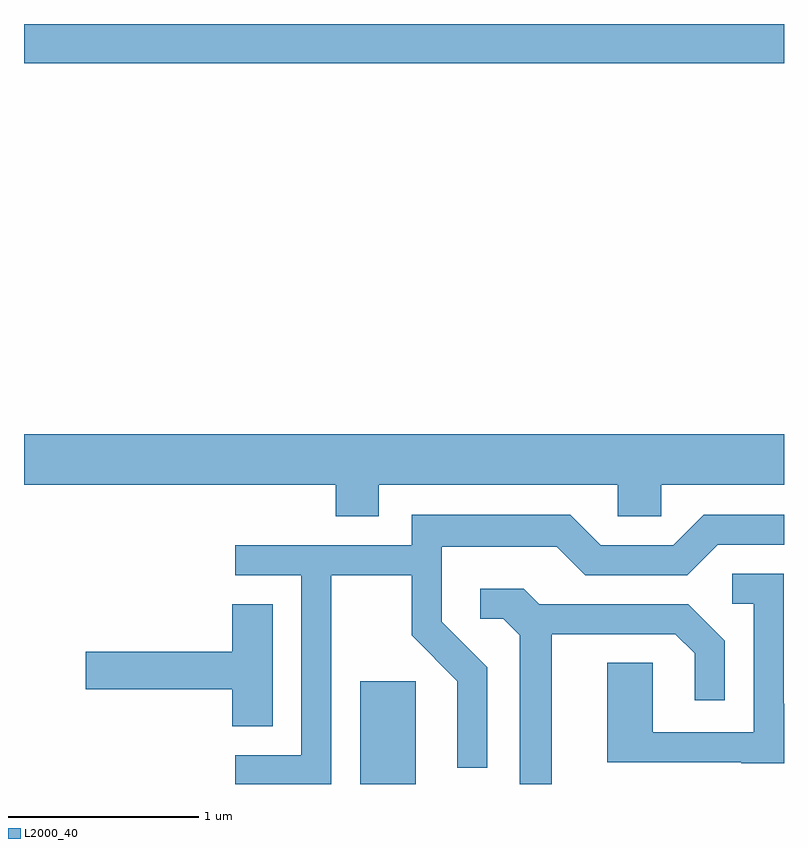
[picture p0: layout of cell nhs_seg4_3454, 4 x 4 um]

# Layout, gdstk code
import gdstk
lib = gdstk.Library(unit=1e-6, precision=1e-09)
def R(c, l, rs):  # rectangles x0, y0, x1, y1
    for r in rs: c.add(gdstk.rectangle(r[:2], r[2:], *l))
def P(c, l, *ps):  # polygons
    for p in ps: c.add(gdstk.Polygon(p, *l))
L2000_40 = (2000, 40)

nhs_seg4_3454 = lib.new_cell('nhs_seg4_3454')
R(nhs_seg4_3454, L2000_40, [(287.381,1361.982,287.674,1362.524), (285.611,1365.776,289.611,1365.982)])
P(nhs_seg4_3454, L2000_40, [(287.479,1363.556),(288.736,1363.556),(288.736,1363.391),(288.964,1363.391),(288.964,1363.556),(289.611,1363.556),(289.611,1363.824),(285.611,1363.824),(285.611,1363.556),(287.251,1363.556),(287.251,1363.391),(287.479,1363.391)],
  [(287.229,1363.081),(287.651,1363.081),(287.651,1362.764),(287.891,1362.524),(287.891,1362.068),(288.049,1362.068),(288.049,1362.597),(287.809,1362.837),(287.809,1363.231),(288.414,1363.231),(288.564,1363.081),(289.102,1363.081),(289.262,1363.241),(289.611,1363.241),(289.611,1363.399),(289.189,1363.399),(289.029,1363.239),(288.647,1363.239),(288.487,1363.399),(287.651,1363.399),(287.651,1363.239),(286.723,1363.239),(286.723,1363.081),(287.071,1363.081),(287.071,1362.134),(286.723,1362.134),(286.723,1361.982),(287.229,1361.982)],
  [(289.611,1362.404),(289.609,1362.404),(289.609,1363.089),(289.338,1363.089),(289.338,1362.931),(289.451,1362.931),(289.451,1362.254),(288.919,1362.254),(288.919,1362.619),(288.681,1362.619),(288.681,1362.096),(289.385,1362.096),(289.385,1362.091),(289.611,1362.091)],
  [(288.389,1362.771),(289.039,1362.771),(289.141,1362.669),(289.141,1362.423),(289.299,1362.423),(289.299,1362.737),(289.107,1362.929),(288.322,1362.929),(288.242,1363.009),(288.013,1363.009),(288.013,1362.851),(288.134,1362.851),(288.221,1362.764),(288.221,1361.982),(288.389,1361.982)],
  [(286.919,1362.929),(286.706,1362.929),(286.706,1362.679),(285.936,1362.679),(285.936,1362.481),(286.706,1362.481),(286.706,1362.286),(286.919,1362.286)])

lib.write_gds('nhs_seg4_3454.gds')
